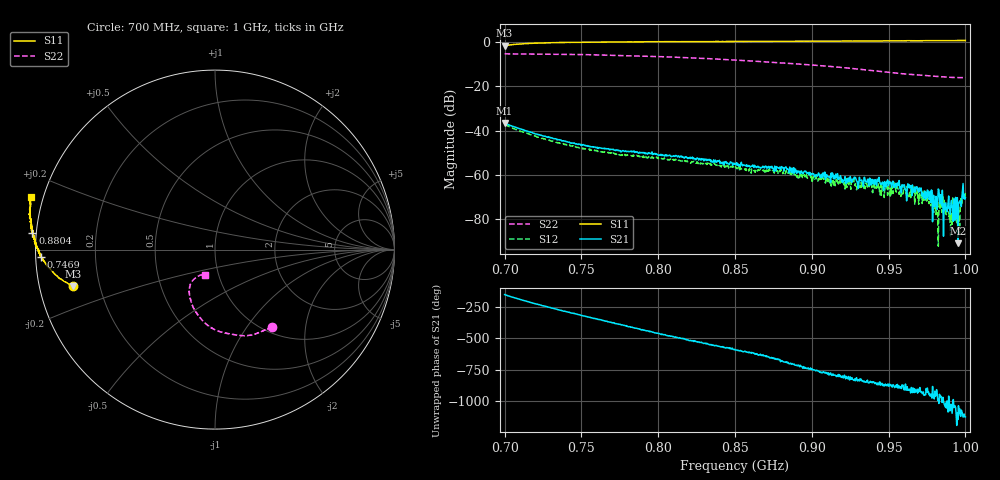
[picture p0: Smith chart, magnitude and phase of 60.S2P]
! C:\Users\rflab\Downloads\Lab5_KD_ZW\Q2\728 MHz\60.S2P
! Touchstone 1.1 file saved by VNA.EXE V1.65 (www.ke5fx.com/gpib/readme.htm)
! 11/18/2024 9:12:06 PM
!  Source: HEWLETT PACKARD,8753D,0,6.14
!  Min freq: 7.000000E+008 Hz
!  Max freq: 1.000000E+009 Hz
!  Points: 801
!  Params: S11 S21 S12 S22
# GHZ S MA R 50
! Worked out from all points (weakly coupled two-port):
!   801 points, 700 MHz to 1 GHz, reference 50 ohm
!   highest |S21| = -36.53 dB at 700 MHz (marker M1); lowest = -90.8 dB at 995.1 MHz (marker M2)
!   lowest |S11| = -1.8 dB at 700 MHz (marker M3), VSWR 9.80, Z = 5.18 - j6.29 ohm
!   |S11| at or under -10 dB: nowhere
!   |S22| runs from -16.2 to -5.4 dB; largest |S21 - S12| = 0.0048
!   S11 on the Smith chart (normalised r, x): 700 MHz: 0.10, -0.13; 746.9 MHz: 0.02, -0.02; 880.4 MHz: -0.01, +0.05; 1 GHz: -0.03, +0.14
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0.7  0.8148 -165.5  0.01491 -149.9  0.01392 -168.7  0.5344 -53.8
0.746875  0.9689 -177.6  0.005039 53.2  0.004193 34.4  0.5175 -67.3
0.75025  0.9723 -178.0  0.004588 43.4  0.003988 24.3  0.5142 -68.4
0.800125  0.9976 178.5  0.002758 -102.0  0.002309 -117.7  0.4621 -85.1
0.85  1.015 176.1  0.001813 127.7  0.001421 113.2  0.3853 -102.8
0.880375  1.022 174.7  0.001544 40.0  0.001181 18.7  0.3334 -112.4
0.90025  1.027 173.7  0.001045 -23.7  0.000672 -39.0  0.2985 -117.9
0.950125  1.048 170.3  0.000599 -163.7  0.000501 -156.7  0.2038 -125.5
0.954625  1.046 170.0  0.000649 -168.7  0.000468 -164.2  0.1968 -125.0
0.958  1.048 169.5  0.000491 -166.4  0.000329 -170.6  0.1918 -124.6
0.967  1.051 169.0  0.000538 174.7  0.00022 140.8  0.181 -123.2
0.973375  1.051 168.2  0.000418 124.5  0.000475 117.2  0.1741 -122.0
0.97675  1.056 167.9  0.000299 133.6  0.000289 103.1  0.1703 -121.4
0.980125  1.057 167.6  0.000192 157.2  0.00024 142.3  0.1666 -120.7
0.9835  1.056 167.0  0.000227 110.6  0.000168 99.6  0.1639 -119.6
0.984625  1.056 166.8  0.000205 68.8  0.000144 146.7  0.1628 -119.2
0.986875  1.058 166.2  0.000231 32.4  0.000186 22.3  0.1607 -118.4
0.99025  1.061 165.8  0.000131 35.8  4.3e-05 -17.6  0.1581 -116.9
0.993625  1.064 165.3  0.000313 25.1  0.000149 13.9  0.1563 -115.3
0.995125  1.063 165.0  2.9e-05 -69.7  0.000157 -58.7  0.1554 -114.6
0.997  1.065 164.7  0.000221 -44.7  0.000293 -54.7  0.1552 -113.6
1  1.065 164.0  0.000306 -49.6  0.000406 -84.7  0.1553 -112.0
